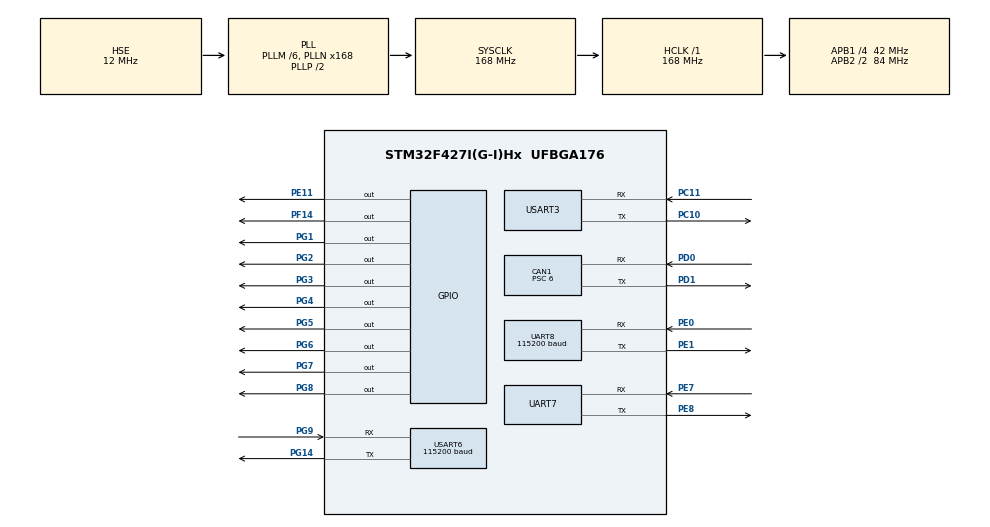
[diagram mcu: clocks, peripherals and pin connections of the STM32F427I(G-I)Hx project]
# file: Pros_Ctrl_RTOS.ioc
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CAN1.BS1=CAN_BS1_4TQ
CAN1.BS2=CAN_BS2_2TQ
CAN1.CalculateBaudRate=1000000
CAN1.CalculateTimeBit=1000
CAN1.CalculateTimeQuantum=142.85714285714286
CAN1.Mode=CAN_MODE_NORMAL
CAN1.NART=ENABLE
CAN1.Prescaler=6
Dma.Request0=USART6_RX
Dma.Request1=USART6_TX
Dma.Request2=USART3_RX
Dma.Request3=USART3_TX
Dma.Request4=UART7_RX
Dma.UART7_RX.4.Direction=DMA_PERIPH_TO_MEMORY
Dma.UART7_RX.4.FIFOMode=DMA_FIFOMODE_DISABLE
Dma.UART7_RX.4.Instance=DMA1_Stream3
Dma.UART7_RX.4.MemDataAlignment=DMA_MDATAALIGN_BYTE
Dma.UART7_RX.4.MemInc=DMA_MINC_ENABLE
Dma.UART7_RX.4.Mode=DMA_CIRCULAR
Dma.UART7_RX.4.PeriphDataAlignment=DMA_PDATAALIGN_BYTE
Dma.UART7_RX.4.PeriphInc=DMA_PINC_DISABLE
Dma.UART7_RX.4.Priority=DMA_PRIORITY_LOW
Dma.USART3_RX.2.Direction=DMA_PERIPH_TO_MEMORY
Dma.USART3_RX.2.FIFOMode=DMA_FIFOMODE_DISABLE
Dma.USART3_RX.2.Instance=DMA1_Stream1
Dma.USART3_RX.2.MemDataAlignment=DMA_MDATAALIGN_BYTE
Dma.USART3_RX.2.MemInc=DMA_MINC_ENABLE
Dma.USART3_RX.2.Mode=DMA_NORMAL
Dma.USART3_RX.2.PeriphDataAlignment=DMA_PDATAALIGN_BYTE
Dma.USART3_RX.2.PeriphInc=DMA_PINC_DISABLE
Dma.USART3_RX.2.Priority=DMA_PRIORITY_LOW
Dma.USART3_TX.3.Direction=DMA_MEMORY_TO_PERIPH
Dma.USART3_TX.3.FIFOMode=DMA_FIFOMODE_DISABLE
Dma.USART3_TX.3.Instance=DMA1_Stream4
Dma.USART3_TX.3.MemDataAlignment=DMA_MDATAALIGN_BYTE
Dma.USART3_TX.3.MemInc=DMA_MINC_ENABLE
Dma.USART3_TX.3.Mode=DMA_NORMAL
Dma.USART3_TX.3.PeriphDataAlignment=DMA_PDATAALIGN_BYTE
Dma.USART3_TX.3.PeriphInc=DMA_PINC_DISABLE
Dma.USART3_TX.3.Priority=DMA_PRIORITY_LOW
Dma.USART6_RX.0.Direction=DMA_PERIPH_TO_MEMORY
Dma.USART6_RX.0.FIFOMode=DMA_FIFOMODE_DISABLE
Dma.USART6_RX.0.Instance=DMA2_Stream1
Dma.USART6_RX.0.MemDataAlignment=DMA_MDATAALIGN_BYTE
Dma.USART6_RX.0.MemInc=DMA_MINC_ENABLE
Dma.USART6_RX.0.Mode=DMA_CIRCULAR
Dma.USART6_RX.0.PeriphDataAlignment=DMA_PDATAALIGN_BYTE
Dma.USART6_RX.0.PeriphInc=DMA_PINC_DISABLE
Dma.USART6_RX.0.Priority=DMA_PRIORITY_HIGH
Dma.USART6_TX.1.Direction=DMA_MEMORY_TO_PERIPH
Dma.USART6_TX.1.FIFOMode=DMA_FIFOMODE_DISABLE
Dma.USART6_TX.1.Instance=DMA2_Stream6
Dma.USART6_TX.1.MemDataAlignment=DMA_MDATAALIGN_BYTE
Dma.USART6_TX.1.MemInc=DMA_MINC_ENABLE
Dma.USART6_TX.1.Mode=DMA_NORMAL
Dma.USART6_TX.1.PeriphDataAlignment=DMA_PDATAALIGN_BYTE
Dma.USART6_TX.1.PeriphInc=DMA_PINC_DISABLE
Dma.USART6_TX.1.Priority=DMA_PRIORITY_HIGH
FREERTOS.Mutexes01=p2mMutex,Dynamic,NULL;m2pMutex,Dynamic,NULL
FREERTOS.Queues01=PC_To_MotorQueue,5,P2M,0,Dynamic,NULL,NULL;Motor_To_PC_Queue,5,M2P,0,Dynamic,NULL,NULL
FREERTOS.Tasks01=CommucationTask,0,400,Task_Commucation,Default,NULL,Dynamic,NULL,NULL;MotorCtrlTask,0,400,Task_MotorCtrl,Default,NULL,Dynamic,NULL,NULL
Mcu.Family=STM32F4
Mcu.Name=STM32F427I(G-I)Hx
Mcu.Package=UFBGA176
NVIC.CAN1_RX0_IRQn=true\:5\:0\:true\:false\:true\:true\:true\:true\:true
NVIC.DMA1_Stream1_IRQn=true\:6\:0\:true\:false\:true\:true\:false\:true\:true
NVIC.DMA1_Stream3_IRQn=true\:6\:0\:true\:false\:true\:true\:false\:true\:true
NVIC.DMA1_Stream4_IRQn=true\:6\:0\:true\:false\:true\:false\:false\:true\:true
NVIC.DMA2_Stream1_IRQn=true\:5\:0\:true\:false\:true\:true\:false\:true\:true
NVIC.DMA2_Stream6_IRQn=true\:5\:0\:true\:false\:true\:true\:false\:true\:true
NVIC.PriorityGroup=NVIC_PRIORITYGROUP_4
NVIC.TIM4_IRQn=true\:15\:0\:false\:false\:true\:false\:false\:true\:true
NVIC.TimeBase=TIM4_IRQn
NVIC.TimeBaseIP=TIM4
NVIC.UART7_IRQn=true\:7\:0\:true\:false\:true\:true\:true\:true\:true
NVIC.USART6_IRQn=true\:5\:0\:true\:false\:true\:true\:true\:true\:true
PA13.Mode=Serial_Wire
PA13.Signal=SYS_JTMS-SWDIO
PA14.Mode=Serial_Wire
PA14.Signal=SYS_JTCK-SWCLK
PC10.Mode=Asynchronous
PC10.Signal=USART3_TX
PC11.Mode=Asynchronous
PC11.Signal=USART3_RX
PD0.Mode=CAN_Activate
PD0.Signal=CAN1_RX
PD1.Mode=CAN_Activate
PD1.Signal=CAN1_TX
PE0.Mode=Asynchronous
PE0.Signal=UART8_RX
PE1.Mode=Asynchronous
PE1.Signal=UART8_TX
PE11.PinState=GPIO_PIN_RESET
PE11.Signal=GPIO_Output
PE7.Mode=Asynchronous
PE7.Signal=UART7_RX
PE8.Mode=Asynchronous
PE8.Signal=UART7_TX
PF14.PinState=GPIO_PIN_RESET
PF14.Signal=GPIO_Output
PG1.PinState=GPIO_PIN_SET
PG1.Signal=GPIO_Output
PG14.Mode=Asynchronous
PG14.Signal=USART6_TX
PG2.PinState=GPIO_PIN_SET
PG2.Signal=GPIO_Output
PG3.PinState=GPIO_PIN_SET
PG3.Signal=GPIO_Output
PG4.PinState=GPIO_PIN_SET
PG4.Signal=GPIO_Output
PG5.PinState=GPIO_PIN_SET
PG5.Signal=GPIO_Output
PG6.PinState=GPIO_PIN_SET
PG6.Signal=GPIO_Output
PG7.PinState=GPIO_PIN_SET
PG7.Signal=GPIO_Output
PG8.PinState=GPIO_PIN_SET
PG8.Signal=GPIO_Output
PG9.Mode=Asynchronous
PG9.Signal=USART6_RX
PH0/OSC_IN.Mode=HSE-External-Oscillator
PH0/OSC_IN.Signal=RCC_OSC_IN
PH1/OSC_OUT.Mode=HSE-External-Oscillator
PH1/OSC_OUT.Signal=RCC_OSC_OUT
ProjectManager.HeapSize=0x200
ProjectManager.StackSize=0x400
ProjectManager.TargetToolchain=STM32CubeIDE
RCC.48MHZClocksFreq_Value=84000000
RCC.AHBFreq_Value=168000000
RCC.APB1CLKDivider=RCC_HCLK_DIV4
RCC.APB1Freq_Value=42000000
RCC.APB1TimFreq_Value=84000000
RCC.APB2CLKDivider=RCC_HCLK_DIV2
RCC.APB2Freq_Value=84000000
RCC.APB2TimFreq_Value=168000000
RCC.CortexFreq_Value=168000000
RCC.HCLKFreq_Value=168000000
RCC.HSE_VALUE=12000000
RCC.HSI_VALUE=16000000
RCC.LSE_VALUE=32768
RCC.PLLM=6
RCC.PLLN=168
RCC.PLLSourceVirtual=RCC_PLLSOURCE_HSE
RCC.SYSCLKFreq_VALUE=168000000
RCC.SYSCLKSource=RCC_SYSCLKSOURCE_PLLCLK
RCC.VCOOutputFreq_Value=336000000
UART7.VirtualMode=Asynchronous
UART8.BaudRate=115200
UART8.VirtualMode=Asynchronous
USART3.VirtualMode=VM_ASYNC
USART6.BaudRate=115200
USART6.VirtualMode=VM_ASYNC
VP_FREERTOS_VS_CMSIS_V1.Mode=CMSIS_V1
VP_SYS_VS_tim4.Mode=TIM4
board=custom

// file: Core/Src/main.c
/* USER CODE BEGIN Header */
/**
  ******************************************************************************
  * @file           : main.c
  * @brief          : Main program body
  ******************************************************************************
  * @attention
  *
  * Copyright (c) 2023 STMicroelectronics.
  * All rights reserved.
  *
  * This software is licensed under terms that can be found in the LICENSE file
  * in the root directory of this software component.
  * If no LICENSE file comes with this software, it is provided AS-IS.
  *
  ******************************************************************************
  */
/* USER CODE END Header */
#include "main.h"
#include "cmsis_os.h"
#include "can.h"
#include "dma.h"
#include "usart.h"
#include "gpio.h"

/* USER CODE BEGIN Includes */
#include "uart_communication.h"
#include "motor.h"
#include "msg.h"
#include "debug_uart.h"
/* USER CODE END Includes */

void SystemClock_Config(void);
void MX_FREERTOS_Init(void);

int main(void)
{

  /* MCU Configuration--------------------------------------------------------*/

  /* Reset of all peripherals, Initializes the Flash interface and the Systick. */
  HAL_Init();

  /* Configure the system clock */
  SystemClock_Config();

  /* Initialize all configured peripherals */
  MX_GPIO_Init();
  MX_DMA_Init();
  MX_CAN1_Init();
  MX_UART7_Init();
  MX_UART8_Init();
  MX_USART6_UART_Init();
  MX_USART3_UART_Init();
  /* USER CODE BEGIN 2 */
  CAN_FilterConfig();
  motor_init();
  Start_PCReceiveIT();
  /* USER CODE END 2 */

  /* Call init function for freertos objects (in freertos.c) */
  MX_FREERTOS_Init();

  /* Start scheduler */
  osKernelStart();

  /* We should never get here as control is now taken by the scheduler */
  /* Infinite loop */
  while (1)
  {

  }
}

void SystemClock_Config(void)
{
  RCC_OscInitTypeDef RCC_OscInitStruct = {0};
  RCC_ClkInitTypeDef RCC_ClkInitStruct = {0};

  /** Configure the main internal regulator output voltage
  */
  __HAL_RCC_PWR_CLK_ENABLE();
  __HAL_PWR_VOLTAGESCALING_CONFIG(PWR_REGULATOR_VOLTAGE_SCALE1);

  /** Initializes the RCC Oscillators according to the specified parameters
  * in the RCC_OscInitTypeDef structure.
  */
  RCC_OscInitStruct.OscillatorType = RCC_OSCILLATORTYPE_HSE;
  RCC_OscInitStruct.HSEState = RCC_HSE_ON;
  RCC_OscInitStruct.PLL.PLLState = RCC_PLL_ON;
  RCC_OscInitStruct.PLL.PLLSource = RCC_PLLSOURCE_HSE;
  RCC_OscInitStruct.PLL.PLLM = 6;
  RCC_OscInitStruct.PLL.PLLN = 168;
  RCC_OscInitStruct.PLL.PLLP = RCC_PLLP_DIV2;
  RCC_OscInitStruct.PLL.PLLQ = 4;
  if (HAL_RCC_OscConfig(&RCC_OscInitStruct) != HAL_OK)
  {
    Error_Handler();
  }

  /** Initializes the CPU, AHB and APB buses clocks
  */
  RCC_ClkInitStruct.ClockType = RCC_CLOCKTYPE_HCLK|RCC_CLOCKTYPE_SYSCLK
                              |RCC_CLOCKTYPE_PCLK1|RCC_CLOCKTYPE_PCLK2;
  RCC_ClkInitStruct.SYSCLKSource = RCC_SYSCLKSOURCE_PLLCLK;
  RCC_ClkInitStruct.AHBCLKDivider = RCC_SYSCLK_DIV1;
  RCC_ClkInitStruct.APB1CLKDivider = RCC_HCLK_DIV4;
  RCC_ClkInitStruct.APB2CLKDivider = RCC_HCLK_DIV2;

  if (HAL_RCC_ClockConfig(&RCC_ClkInitStruct, FLASH_LATENCY_5) != HAL_OK)
  {
    Error_Handler();
  }
}

void HAL_TIM_PeriodElapsedCallback(TIM_HandleTypeDef *htim)
{
  if (htim->Instance == TIM4) {
    HAL_IncTick();
  }
}

void Error_Handler(void)
{
  __disable_irq();
  while (1)
  {
  }
}

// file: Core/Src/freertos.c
/* USER CODE BEGIN Header */
/**
  ******************************************************************************
  * File Name          : freertos.c
  * Description        : Code for freertos applications
  ******************************************************************************
  * @attention
  *
  * Copyright (c) 2023 STMicroelectronics.
  * All rights reserved.
  *
  * This software is licensed under terms that can be found in the LICENSE file
  * in the root directory of this software component.
  * If no LICENSE file comes with this software, it is provided AS-IS.
  *
  ******************************************************************************
  */
/* USER CODE END Header */

#include "FreeRTOS.h"
#include "task.h"
#include "main.h"
#include "cmsis_os.h"

/* USER CODE BEGIN Includes */
#include "motor.h"
#include "uart_communication.h"
#include "msg.h"
#include "debug_uart.h"
/* USER CODE END Includes */

osThreadId CommucationTaskHandle;
osThreadId MotorCtrlTaskHandle;
osMessageQId PC_To_MotorQueueHandle;
osMessageQId Motor_To_PC_QueueHandle;
osMutexId p2mMutexHandle;
osMutexId m2pMutexHandle;

void Task_Commucation(void const * argument);
void Task_MotorCtrl(void const * argument);

void MX_FREERTOS_Init(void); /* (MISRA C 2004 rule 8.1) */

/* GetIdleTaskMemory prototype (linked to static allocation support) */
void vApplicationGetIdleTaskMemory( StaticTask_t **ppxIdleTaskTCBBuffer, StackType_t **ppxIdleTaskStackBuffer, uint32_t *pulIdleTaskStackSize );

/* USER CODE BEGIN GET_IDLE_TASK_MEMORY */
static StaticTask_t xIdleTaskTCBBuffer;
static StackType_t xIdleStack[configMINIMAL_STACK_SIZE];

void vApplicationGetIdleTaskMemory( StaticTask_t **ppxIdleTaskTCBBuffer, StackType_t **ppxIdleTaskStackBuffer, uint32_t *pulIdleTaskStackSize )
{
  *ppxIdleTaskTCBBuffer = &xIdleTaskTCBBuffer;
  *ppxIdleTaskStackBuffer = &xIdleStack[0];
  *pulIdleTaskStackSize = configMINIMAL_STACK_SIZE;
  /* place for user code */
}
/* USER CODE END GET_IDLE_TASK_MEMORY */

void MX_FREERTOS_Init(void) {
  /* Create the mutex(es) */
  /* definition and creation of p2mMutex */
  osMutexDef(p2mMutex);
  p2mMutexHandle = osMutexCreate(osMutex(p2mMutex));

  /* definition and creation of m2pMutex */
  osMutexDef(m2pMutex);
  m2pMutexHandle = osMutexCreate(osMutex(m2pMutex));

  /* Create the queue(s) */
  /* definition and creation of PC_To_MotorQueue */
  osMessageQDef(PC_To_MotorQueue, 5, P2M);
  PC_To_MotorQueueHandle = osMessageCreate(osMessageQ(PC_To_MotorQueue), NULL);

  /* definition and creation of Motor_To_PC_Queue */
  osMessageQDef(Motor_To_PC_Queue, 5, M2P);
  Motor_To_PC_QueueHandle = osMessageCreate(osMessageQ(Motor_To_PC_Queue), NULL);

  /* Create the thread(s) */
  /* definition and creation of CommucationTask */
  osThreadDef(CommucationTask, Task_Commucation, osPriorityNormal, 0, 400);
  CommucationTaskHandle = osThreadCreate(osThread(CommucationTask), NULL);

  /* definition and creation of MotorCtrlTask */
  osThreadDef(MotorCtrlTask, Task_MotorCtrl, osPriorityNormal, 0, 400);
  MotorCtrlTaskHandle = osThreadCreate(osThread(MotorCtrlTask), NULL);

}

void Task_Commucation(void const * argument)
{
  /* USER CODE BEGIN Task_Commucation */
	BaseType_t xStatus_Send;
	BaseType_t xStatus_Receive;
  /* Infinite loop */
  for(;;)
  {
	if(xSemaphoreTake(p2mMutexHandle, 0)==pdTRUE){
		PC_UnpackMessage();
		xSemaphoreGive(p2mMutexHandle);
	}
	if(xSemaphoreTake(m2pMutexHandle, 0)==pdTRUE){
		PC_PackMessage();
		xSemaphoreGive(m2pMutexHandle);
	}

//	debugPrintMultiThread("Hello:Communication Task \r\n");
    osDelay(10);
  }
  /* USER CODE END Task_Commucation */
}

void Task_MotorCtrl(void const * argument)
{
  /* USER CODE BEGIN Task_MotorCtrl */
  BaseType_t xStatus_Send;
  BaseType_t xStatus_Receive;
	/* Infinite loop */
  for(;;)
  {
	  if(xSemaphoreTake(p2mMutexHandle, 0)==pdTRUE){
//		  Motor_Debug_CMDUnpack();
		  Motor_CMDUnpack();
		  xSemaphoreGive(p2mMutexHandle);
	  }
	  if(xSemaphoreTake(m2pMutexHandle, 0)==pdTRUE){
		  Motor_UpdateMessages();
		  xSemaphoreGive(m2pMutexHandle);
	  }
//	  debugPrintMultiThread("Hello: Task Motor\r\n");
	  osDelay(2);
  }
  /* USER CODE END Task_MotorCtrl */
}
